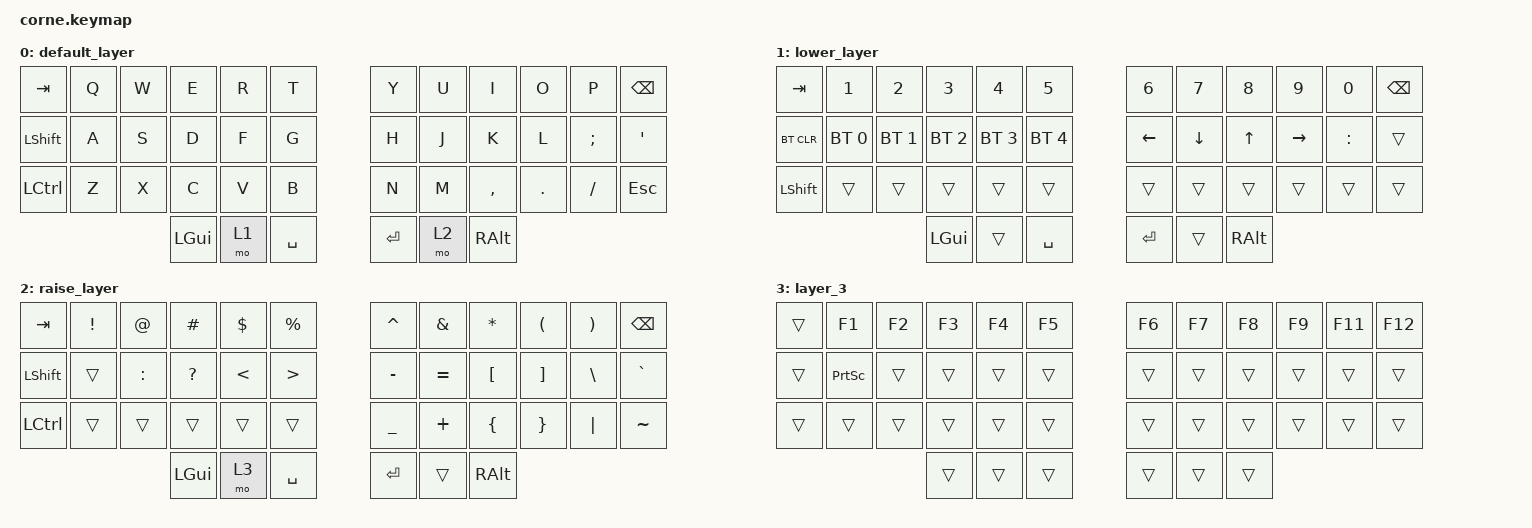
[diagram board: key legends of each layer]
/*
 * Copyright (c) 2020 The ZMK Contributors
 *
 * SPDX-License-Identifier: MIT
 */

#include <behaviors.dtsi>
#include <dt-bindings/zmk/bt.h>
#include <dt-bindings/zmk/keys.h>

/ {
    keymap {
        compatible = "zmk,keymap";

        default_layer {
            // -----------------------------------------------------------------------------------------
            // |  TAB |  Q  |  W  |  E  |  R  |  T  |   |  Y  |  U   |  I  |  O  |  P  | BSPC |
            // | CTRL |  A  |  S  |  D  |  F  |  G  |   |  H  |  J   |  K  |  L  |  ;  |  '   |
            // | SHFT |  Z  |  X  |  C  |  V  |  B  |   |  N  |  M   |  ,  |  .  |  /  | ESC  |
            //                    | GUI | LWR | SPC |   | ENT | RSE  | ALT |

            bindings = <
&kp TAB           &kp Q  &kp W  &kp E     &kp R  &kp T        &kp Y    &kp U  &kp I      &kp O    &kp P     &kp BSPC
&kp LEFT_SHIFT    &kp A  &kp S  &kp D     &kp F  &kp G        &kp H    &kp J  &kp K      &kp L    &kp SEMI  &kp SQT
&kp LEFT_CONTROL  &kp Z  &kp X  &kp C     &kp V  &kp B        &kp N    &kp M  &kp COMMA  &kp DOT  &kp FSLH  &kp ESC
                                &kp LGUI  &mo 1  &kp SPACE    &kp RET  &mo 2  &kp RALT
            >;
        };

        lower_layer {
            // -----------------------------------------------------------------------------------------
            // |  TAB |  1  |  2  |  3  |  4  |  5  |   |  6  |  7  |  8  |  9  |  0  | BSPC |
            // | BTCLR| BT1 | BT2 | BT3 | BT4 | BT5 |   | LFT | DWN |  UP | RGT |     |      |
            // | SHFT |     |     |     |     |     |   |     |     |     |     |     |      |
            //                    | GUI |     | SPC |   | ENT |     | ALT |

            bindings = <
&kp TAB     &kp N1        &kp N2        &kp N3        &kp N4        &kp N5          &kp N6    &kp N7    &kp N8    &kp N9     &kp N0     &kp BSPC
&bt BT_CLR  &bt BT_SEL 0  &bt BT_SEL 1  &bt BT_SEL 2  &bt BT_SEL 3  &bt BT_SEL 4    &kp LEFT  &kp DOWN  &kp UP    &kp RIGHT  &kp COLON  &trans
&kp LSHFT   &trans        &trans        &trans        &trans        &trans          &trans    &trans    &trans    &trans     &trans     &trans
                                        &kp LGUI      &trans        &kp SPACE       &kp RET   &trans    &kp RALT
            >;
        };

        raise_layer {
            // -----------------------------------------------------------------------------------------
            // |  TAB |  !  |  @  |  #  |  $  |  %  |   |  ^  |  &  |  *  |  (  |  )  | BSPC |
            // | CTRL |     |     |     |     |     |   |  -  |  =  |  [  |  ]  |  \  |  `   |
            // | SHFT |     |     |     |     |     |   |  _  |  +  |  {  |  }  | "|" |  ~   |
            //                    | GUI |     | SPC |   | ENT |     | ALT |

            bindings = <
&kp TAB           &kp EXCL  &kp AT     &kp HASH      &kp DLLR       &kp PRCNT           &kp CARET  &kp AMPS   &kp ASTRK  &kp LPAR  &kp RPAR  &kp BSPC
&kp LEFT_SHIFT    &trans    &kp COLON  &kp QUESTION  &kp LESS_THAN  &kp GREATER_THAN    &kp MINUS  &kp EQUAL  &kp LBKT   &kp RBKT  &kp BSLH  &kp GRAVE
&kp LEFT_CONTROL  &trans    &trans     &trans        &trans         &trans              &kp UNDER  &kp PLUS   &kp LBRC   &kp RBRC  &kp PIPE  &kp TILDE
                                       &kp LGUI      &mo 3          &kp SPACE           &kp RET    &trans     &kp RALT
            >;
        };

        layer_3 {
            bindings = <
&trans  &kp F1           &kp F2  &kp F3  &kp F4  &kp F5    &kp F6  &kp F7  &kp F8  &kp F9  &kp F11  &kp F12
&trans  &kp PRINTSCREEN  &trans  &trans  &trans  &trans    &trans  &trans  &trans  &trans  &trans   &trans
&trans  &trans           &trans  &trans  &trans  &trans    &trans  &trans  &trans  &trans  &trans   &trans
                                 &trans  &trans  &trans    &trans  &trans  &trans
            >;
        };
    };
};
